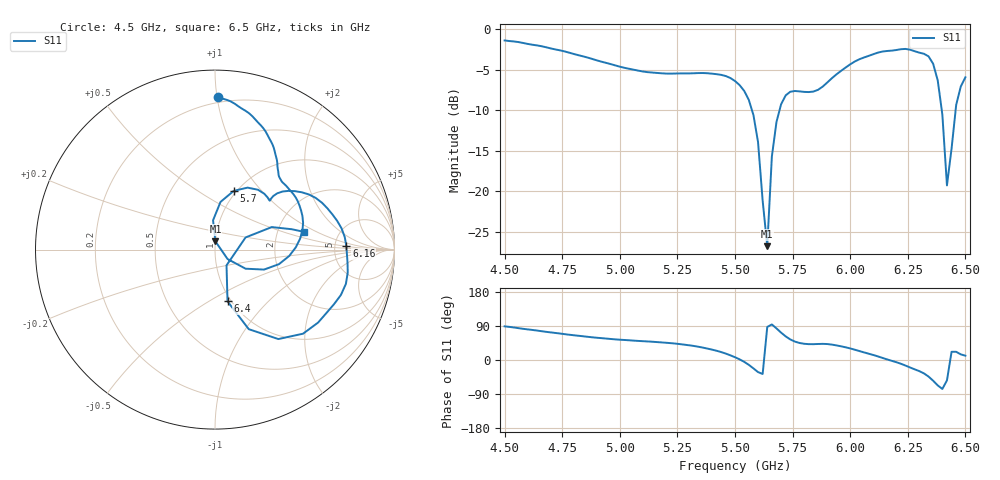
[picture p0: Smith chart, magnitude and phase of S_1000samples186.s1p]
! TOUCHSTONE file generated by CST MICROWAVE STUDIO
! Date and time: Thu Oct 27 07:24:41 2022
! Project name: L.cst
! Parameters = {Di=1.27; Epsilon_r=1.56; InnerDiameter=1.27; Length=2; Lf=10; Lg=60; OuterConductorThickness=0.2921; OuterDiameter=3.6; Wf=3; Wp=41.2; de=1.5; df=6.8; g=0.8; gx=0.930435; gy=4.92745; h=2.34; hf=1.524; px=12.3189; py=11.922; w=9.7; wx=11.3885; wy=6.99456}
! Header version: 2018
! Port assignment regex: !\s*Touchstone port\s*([0-9]+)\s*=\s*(CST MWS port|CST DS port)\s*([0-9]+|Zmin|Zmax)\s*\(\"(.*)\"\)(\s*mode\s*([0-9]+))?.*
! Touchstone port assignment:
! Touchstone port 1 = CST MWS port 1 ("")
# GHz S DB R 50
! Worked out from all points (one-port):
!   101 points, 4.5 GHz to 6.5 GHz, reference 50 ohm
!   lowest |S11| = -26.8 dB at 5.64 GHz (marker M1), VSWR 1.10, Z = 50 + j4.59 ohm
!   |S11| at or under -10 dB: 5.574 GHz to 5.693 GHz (119.8 MHz wide, 2.13 % of centre); 6.397 GHz to 6.458 GHz (60.23 MHz wide, 0.937 % of centre)
!   S11 on the Smith chart (normalised r, x): 4.5 GHz: 0.16, +1.01; 5.7 GHz: 0.97, +0.72; 6.16 GHz: 6.41, +0.56; 6.4 GHz: 0.96, -0.61; 6.5 GHz: 2.81, +0.75
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4.5  -1.41 88.8
4.76  -2.76 68.3
5  -4.64 53.6
5.26  -5.48 42.0
5.4  -5.50 27.4
5.5  -6.41 7.3
5.54  -7.63 -4.9
5.58  -10.60 -22.1
5.6  -13.94 -32.0
5.62  -21.15 -36.9
5.64  -26.76 87.2
5.66  -15.72 93.8
5.68  -11.46 83.4
5.7  -9.28 72.3
5.76  -7.64 48.6
5.88  -7.11 42.6
6  -4.36 30.6
6.1  -3.11 13.3
6.16  -2.71 1.6
6.26  -2.55 -19.8
6.32  -3.05 -35.3
6.36  -4.28 -54.7
6.38  -6.34 -67.0
6.4  -10.55 -76.4
6.42  -19.27 -53.8
6.44  -14.74 21.7
6.46  -9.36 21.6
6.5  -5.95 11.4
